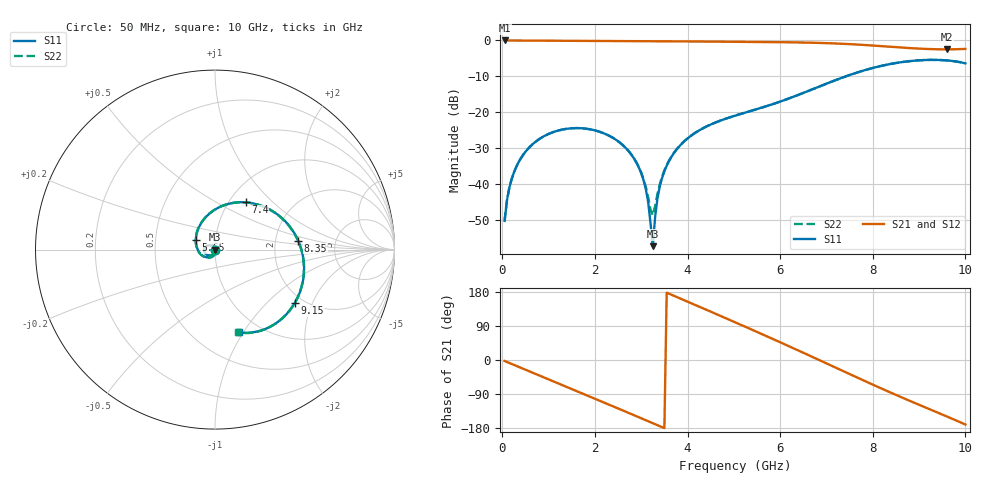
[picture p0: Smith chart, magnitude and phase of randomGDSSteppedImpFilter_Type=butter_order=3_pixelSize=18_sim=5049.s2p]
! freq	dB(S11)	phase(S11)	dB(S12)	phase(S12)
!  dB(S21)	phase(S21)	dB(S22)	phase(S22)
!S-par simulation data
#  GHz  S  DB  R 50
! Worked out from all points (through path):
!   200 points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, 50 MHz to 10 GHz, reference 50 ohm
!   highest |S21| = 0.00 dB at 50 MHz (marker M1); lowest = -2.5 dB at 9.6 GHz (marker M2)
!   group delay of S21, straight-line fit = 148 ps
!   lowest |S11| = -57.3 dB at 3.25 GHz (marker M3), VSWR 1.00, Z = 50.1 - j0.00508 ohm
!   |S11| at or under -10 dB: start of sweep to 7.417 GHz
!   |S22| runs from -50.2 to -5.4 dB; largest |S21 - S12| = 0
!   S11 on the Smith chart (normalised r, x): 50 MHz: 1.00, -0.01; 5.65 GHz: 0.80, +0.08; 7.4 GHz: 1.19, +0.69; 8.35 GHz: 2.69, +0.35; 9.15 GHz: 1.80, -1.50; 10 GHz: 0.80, -0.96
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0.05  -50.23 -86.3  -0.00 -2.6  -0.00 -2.6  -50.23 -86.4
0.2  -38.68 -98.7  -0.02 -10.3  -0.02 -10.3  -38.69 -98.8
0.55  -30.23 -118.5  -0.04 -28.2  -0.04 -28.2  -30.23 -118.7
1.2  -25.10 -152.5  -0.08 -61.3  -0.08 -61.3  -25.10 -152.9
1.75  -24.48 179.0  -0.12 -89.3  -0.12 -89.3  -24.47 178.2
2.4  -27.19 145.1  -0.15 -122.7  -0.15 -122.7  -27.19 143.1
2.85  -32.99 120.4  -0.17 -145.9  -0.17 -145.9  -32.93 115.2
3.1  -41.40 102.4  -0.19 -158.9  -0.19 -158.9  -40.83 88.0
3.25  -57.26 -2.1  -0.20 -166.7  -0.20 -166.7  -48.68 7.2
3.3  -49.16 -59.1  -0.21 -169.3  -0.21 -169.3  -46.11 -31.4
3.4  -40.68 -77.9  -0.21 -174.5  -0.21 -174.5  -40.06 -63.0
3.6  -33.58 -92.5  -0.23 175.0  -0.23 175.0  -33.44 -85.1
3.9  -28.43 -109.8  -0.26 159.3  -0.26 159.3  -28.39 -105.3
4.5  -23.40 -142.6  -0.32 127.6  -0.32 127.6  -23.39 -139.8
5.05  -20.84 -172.7  -0.37 98.3  -0.37 98.3  -20.84 -170.6
5.65  -18.51 154.1  -0.43 66.0  -0.43 66.0  -18.52 155.6
6.7  -13.58 95.8  -0.64 8.0  -0.64 8.0  -13.58 96.1
7.4  -10.08 57.1  -0.96 -31.5  -0.96 -31.5  -10.08 57.0
8.35  -6.63 6.2  -1.73 -84.1  -1.73 -84.1  -6.63 5.8
9.15  -5.43 -33.7  -2.37 -125.9  -2.37 -125.9  -5.44 -34.2
9.6  -5.55 -55.0  -2.48 -149.0  -2.48 -149.0  -5.56 -55.7
10  -6.38 -73.7  -2.36 -170.3  -2.36 -170.3  -6.39 -74.6
